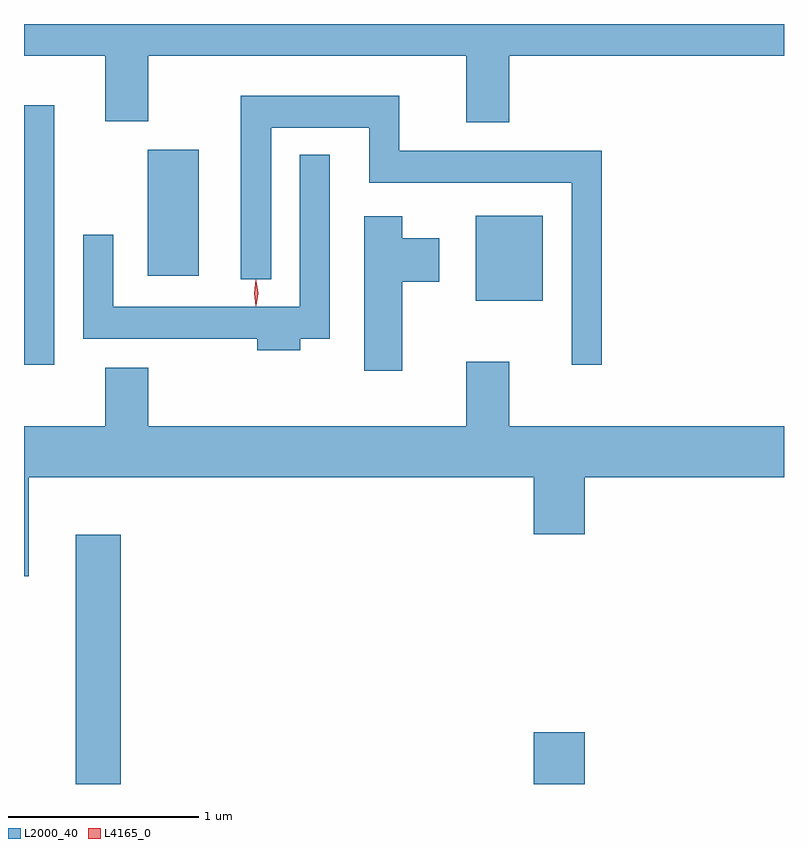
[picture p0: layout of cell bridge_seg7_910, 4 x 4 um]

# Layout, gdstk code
import gdstk
lib = gdstk.Library(unit=1e-6, precision=1e-09)
def R(c, l, rs):  # rectangles x0, y0, x1, y1
    for r in rs: c.add(gdstk.rectangle(r[:2], r[2:], *l))
def P(c, l, *ps):  # polygons
    for p in ps: c.add(gdstk.Polygon(p, *l))
L2000_40 = (2000, 40)
L4165_0 = (4165, 0)

bridge_seg7_910 = lib.new_cell('bridge_seg7_910')
R(bridge_seg7_910, L2000_40, [(592.286,1719.362,592.524,1720.674), (594.696,1719.362,594.964,1719.634), (594.391,1721.906,594.744,1722.354), (592.666,1722.036,592.934,1722.699)])
P(bridge_seg7_910, L2000_40, [(594.569,1723.196),(596.014,1723.196),(596.014,1723.362),(592.014,1723.362),(592.014,1723.196),(592.441,1723.196),(592.441,1722.851),(592.669,1722.851),(592.669,1723.196),(594.341,1723.196),(594.341,1722.846),(594.569,1722.846)],
  [(595.054,1722.694),(593.989,1722.694),(593.989,1722.984),(593.156,1722.984),(593.156,1722.018),(593.314,1722.018),(593.314,1722.816),(593.831,1722.816),(593.831,1722.526),(594.896,1722.526),(594.896,1721.568),(595.054,1721.568)],
  [(592.174,1722.934),(592.014,1722.934),(592.014,1722.246),(592.016,1722.246),(592.016,1721.929),(592.014,1721.929),(592.014,1721.771),(592.016,1721.771),(592.016,1721.568),(592.174,1721.568)],
  [(593.469,1721.706),(593.624,1721.706),(593.624,1722.673),(593.466,1722.673),(593.466,1721.874),(592.484,1721.874),(592.484,1722.253),(592.326,1722.253),(592.326,1721.706),(593.241,1721.706),(593.241,1721.646),(593.469,1721.646)],
  [(594.004,1722.006),(594.199,1722.006),(594.199,1722.234),(594.004,1722.234),(594.004,1722.349),(593.806,1722.349),(593.806,1721.536),(594.004,1721.536)],
  [(594.696,1720.676),(594.964,1720.676),(594.964,1720.976),(596.014,1720.976),(596.014,1721.244),(594.569,1721.244),(594.569,1721.584),(594.341,1721.584),(594.341,1721.244),(592.669,1721.244),(592.669,1721.554),(592.441,1721.554),(592.441,1721.244),(592.014,1721.244),(592.014,1720.456),(592.039,1720.456),(592.039,1720.976),(594.696,1720.976)])
P(bridge_seg7_910, L4165_0, [(593.234,1721.877),(593.225,1721.946),(593.234,1722.016),(593.235,1722.016),(593.235,1722.016),(593.245,1721.946),(593.235,1721.877),(593.235,1721.877)],
  [(593.236,1721.879),(593.236,1721.88),(593.226,1721.946),(593.235,1722.012),(593.236,1722.013),(593.236,1722.012),(593.246,1721.946),(593.237,1721.88)])

lib.write_gds('bridge_seg7_910.gds')
